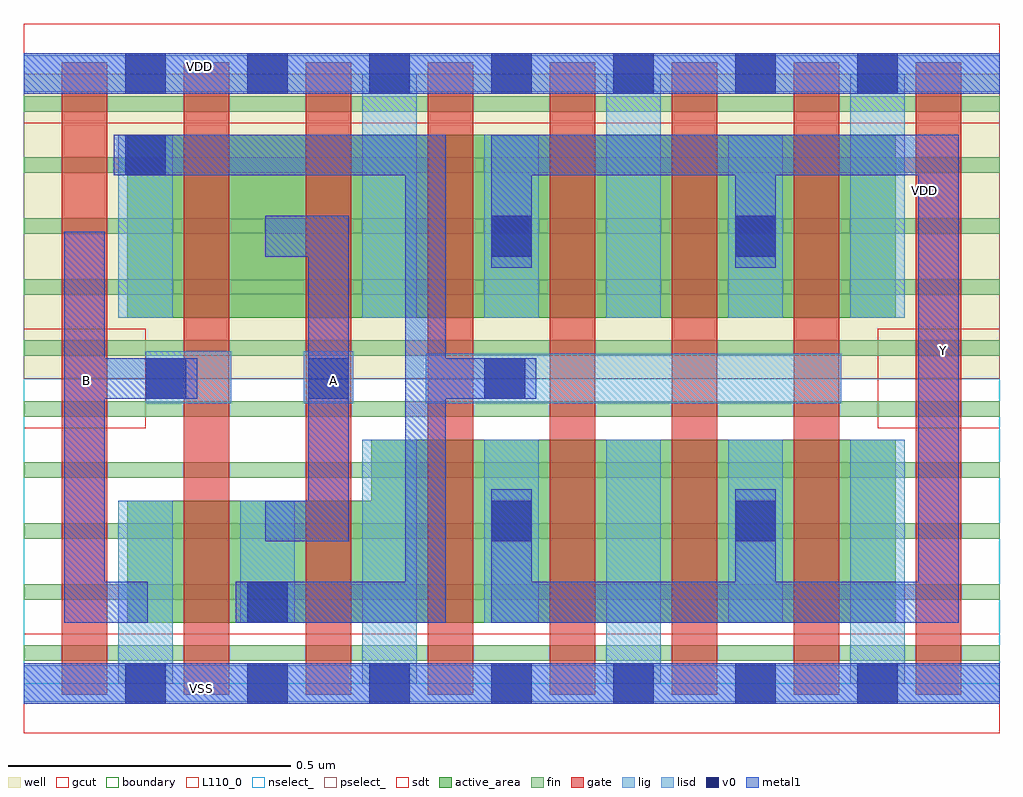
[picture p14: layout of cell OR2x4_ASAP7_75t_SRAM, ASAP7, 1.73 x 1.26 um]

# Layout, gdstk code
import gdstk
lib = gdstk.Library(unit=1e-6, precision=2.5e-10)
def R(c, l, rs):  # rectangles x0, y0, x1, y1
    for r in rs: c.add(gdstk.rectangle(r[:2], r[2:], *l))
def A(c, l, x, y, w, h, nx, ny, dx, dy):  # array of equal rectangles
    R(c, l, [(x+i*dx, y+j*dy, x+i*dx+w, y+j*dy+h) for i in range(nx) for j in range(ny)])
def P(c, l, *ps):  # polygons
    for p in ps: c.add(gdstk.Polygon(p, *l))
well = (1, 0)
fin = (2, 0)
gate = (7, 0)
gcut = (10, 0)
active_area = (11, 0)
nselect_ = (12, 0)
pselect_ = (13, 0)
lig = (16, 0)
lisd = (17, 0)
v0 = (18, 0)
metal1 = (19, 0)
sdt = (88, 0)
boundary = (100, 0)
L110_0 = (110, 0)

or2x4_asap7_75t_sram = lib.new_cell('OR2x4_ASAP7_75t_SRAM')
R(or2x4_asap7_75t_sram, well, [(0,0.54,1.728,1.08)])
A(or2x4_asap7_75t_sram, fin, 0, 0.04, 1.728, 0.028, 1, 10, 0, 0.108)
A(or2x4_asap7_75t_sram, gate, 0.068, -0.02, 0.08, 1.12, 8, 1, 0.216, 0)
R(or2x4_asap7_75t_sram, gcut, [(0,-0.088,1.728,0.088), (0,0.452,0.216,0.628), (1.512,0.452,1.728,0.628), (0,0.992,1.728,1.168)])
R(or2x4_asap7_75t_sram, active_area, [(0.184,0.648,1.544,0.972)])
P(or2x4_asap7_75t_sram, active_area, [(1.544,0.432),(0.616,0.432),(0.616,0.324),(0.184,0.324),(0.184,0.108),(1.544,0.108)])
R(or2x4_asap7_75t_sram, nselect_, [(0,0,1.728,0.54)])
R(or2x4_asap7_75t_sram, pselect_, [(0,0.54,1.728,1.08)])
R(or2x4_asap7_75t_sram, lig, [(0,-0.032,1.728,0.032), (0.216,0.496,0.368,0.588), (0.496,0.496,0.584,0.588), (0.712,0.496,1.448,0.584), (0,1.048,1.728,1.112)])
A(or2x4_asap7_75t_sram, lisd, 0.6, 0, 0.096, 0.432, 3, 2, 0.432, 0.648)
R(or2x4_asap7_75t_sram, lisd, [(0.168,0,0.264,0.324), (0.384,0.108,0.48,0.324), (0.816,0.108,0.912,0.432), (1.248,0.108,1.344,0.432), (0.168,0.648,0.264,0.972), (0.816,0.648,0.912,0.972), (1.248,0.648,1.344,0.972)])
A(or2x4_asap7_75t_sram, v0, 0.18, -0.036, 0.072, 0.072, 7, 2, 0.216, 1.08)
R(or2x4_asap7_75t_sram, v0, [(0.396,0.108,0.468,0.18), (0.828,0.252,0.9,0.324), (1.26,0.252,1.332,0.324), (0.216,0.504,0.288,0.576), (0.504,0.504,0.576,0.576), (0.816,0.504,0.888,0.576), (0.828,0.756,0.9,0.828), (1.26,0.756,1.332,0.828), (0.18,0.9,0.252,0.972)])
R(or2x4_asap7_75t_sram, metal1, [(0,-0.036,1.728,0.036), (0,1.044,1.728,1.116)])
P(or2x4_asap7_75t_sram, metal1, [(0.308,0.576),(0.144,0.576),(0.144,0.8),(0.072,0.8),(0.072,0.108),(0.22,0.108),(0.22,0.18),(0.144,0.18),(0.144,0.504),(0.308,0.504)],
  [(0.576,0.828),(0.428,0.828),(0.428,0.756),(0.504,0.756),(0.504,0.324),(0.428,0.324),(0.428,0.252),(0.576,0.252)],
  [(0.908,0.576),(0.748,0.576),(0.748,0.972),(0.16,0.972),(0.16,0.9),(0.676,0.9),(0.676,0.18),(0.376,0.18),(0.376,0.108),(0.748,0.108),(0.748,0.504),(0.908,0.504)],
  [(1.656,0.972),(0.828,0.972),(0.828,0.736),(0.9,0.736),(0.9,0.9),(1.26,0.9),(1.26,0.736),(1.332,0.736),(1.332,0.9),(1.584,0.9),(1.584,0.18),(1.332,0.18),(1.332,0.344),(1.26,0.344),(1.26,0.18),(0.9,0.18),(0.9,0.344),(0.828,0.344),(0.828,0.108),(1.656,0.108)])
A(or2x4_asap7_75t_sram, sdt, 0.6, 0.108, 0.096, 0.324, 5, 2, 0.216, 0.54)
R(or2x4_asap7_75t_sram, sdt, [(0.168,0.108,0.264,0.324), (0.384,0.108,0.48,0.324), (0.168,0.648,0.264,0.972)])
R(or2x4_asap7_75t_sram, boundary, [(0,0,1.728,1.08)])
R(or2x4_asap7_75t_sram, L110_0, [(0,0,1.728,1.08)])
or2x4_asap7_75t_sram.add(gdstk.Label('VSS', (1.872,0.868), layer=3, texttype=251))
or2x4_asap7_75t_sram.add(gdstk.Label('VDD', (1.596,0.872), layer=1, texttype=251))
or2x4_asap7_75t_sram.add(gdstk.Label('B', (0.112,0.536), layer=19, texttype=251))
or2x4_asap7_75t_sram.add(gdstk.Label('A', (0.548,0.536), layer=19, texttype=251))
or2x4_asap7_75t_sram.add(gdstk.Label('Y', (1.628,0.59), layer=19, texttype=251))
or2x4_asap7_75t_sram.add(gdstk.Label('VSS', (0.316,-0.008), layer=19, texttype=251))
or2x4_asap7_75t_sram.add(gdstk.Label('VDD', (0.312,1.092), layer=19, texttype=251))

lib.write_gds('OR2x4_ASAP7_75t_SRAM.gds')
